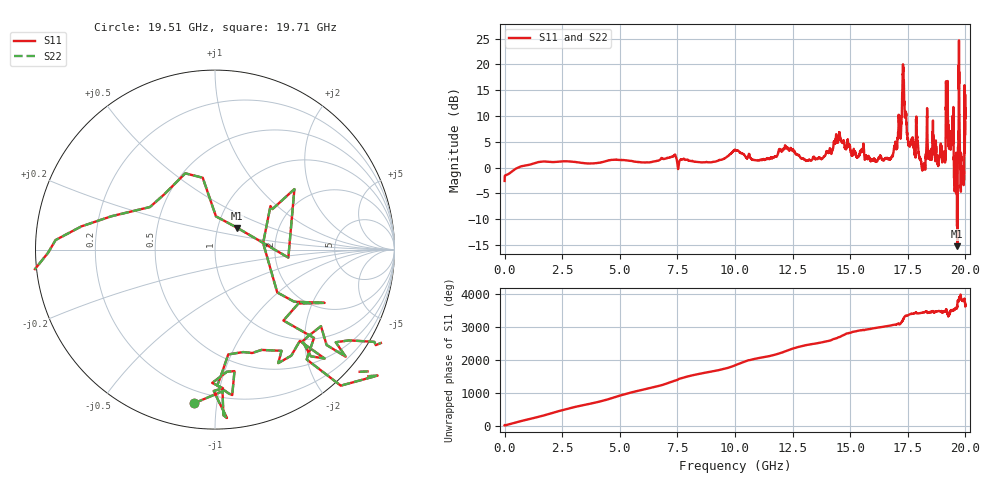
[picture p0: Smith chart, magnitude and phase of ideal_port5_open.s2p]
! Created with skrf (http://scikit-rf.org).
# GHz S RI R 50.0
!freq ReS11 ImS11 ReS21 ImS21 ReS12 ImS12 ReS22 ImS22
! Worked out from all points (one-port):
!   10001 points, 1 MHz to 20 GHz, reference 50 ohm
!   lowest |S11| = -15.2 dB at 19.65 GHz (marker M1), VSWR 1.42, Z = 62.1 + j15.5 ohm
!   |S11| at or under -10 dB: 19.63731 GHz to 19.63885 GHz (1.538 MHz wide, 0.00783 % of centre); 19.64663 GHz to 19.65138 GHz (4.754 MHz wide, 0.0242 % of centre)
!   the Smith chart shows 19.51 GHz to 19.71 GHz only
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0.001  0.7368 0.101  0 0  0 0  0.7368 0.101
2.434878  -0.1203 1.143  0 0  0 0  -0.1203 1.143
3.334833  -0.4109 -1.035  0 0  0 0  -0.4109 -1.035
6.668667  -0.5773 1.014  0 0  0 0  -0.5773 1.014
7.334633  0.0433 -1.307  0 0  0 0  0.0433 -1.307
8.098595  0.264 1.129  0 0  0 0  0.264 1.129
8.906555  -1.106 -0.2083  0 0  0 0  -1.106 -0.2083
10.0005  1.316 0.6807  0 0  0 0  1.316 0.6807
10.58447  -1.3 -0.0482  0 0  0 0  -1.3 -0.0482
11.36843  0.4748 -1.127  0 0  0 0  0.4748 -1.127
12.19039  -0.1395 1.606  0 0  0 0  -0.1395 1.606
13.33433  0.8245 -0.8478  0 0  0 0  0.8245 -0.8478
14.55427  -2.012 0.3331  0 0  0 0  -2.012 0.3331
14.89626  0.2704 -1.865  0 0  0 0  0.2704 -1.865
15.49823  1.397 0.3497  0 0  0 0  1.397 0.3497
16.66817  -0.995 0.704  0 0  0 0  -0.995 0.704
17.13814  -2.761 -0.6145  0 0  0 0  -2.761 -0.6145
17.34013  3.809 2.795  0 0  0 0  3.809 2.795
17.42213  0.0254 3.212  0 0  0 0  0.0254 3.212
17.80011  -1.345 0.2572  0 0  0 0  -1.345 0.2572
19.64802  0.1246 0.1209  0 0  0 0  0.1246 0.1209
20  2.317 2.95  0 0  0 0  2.317 2.95
